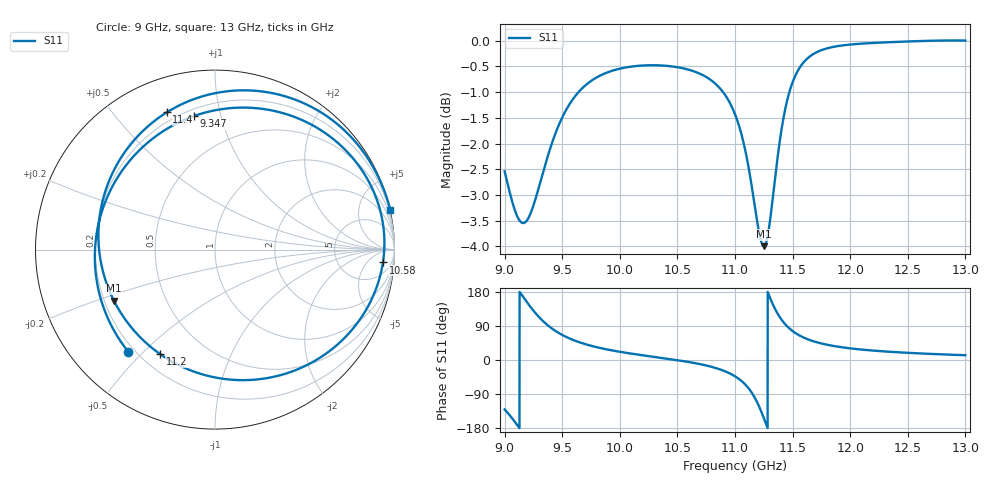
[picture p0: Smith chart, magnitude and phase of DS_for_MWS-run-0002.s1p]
! TOUCHSTONE file generated by CST DESIGN STUDIO
! Date and time: Tue Feb  4 16:00:30 2025
! Project name: C:\Work\MatlabApps\UnitCellOptimizationMatlab\CST\unitcell.cst
! Tree item: Tasks\Sweep1\SPara1\S-Parameters
! Header version: 2024
! Port assignment regex: !\s*Touchstone port\s*([0-9]+)\s*=\s*(CST MWS port|CST DES external port|CST DES block port)\s*(.+)\s* \(\"(.*)\"\)(\s*mode\s*([0-9]+))?.*
! Touchstone port assignment:
! Touchstone port 1 = CST DES external port 1 ("")
# GHz S MA R 50
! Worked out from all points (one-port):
!   4001 points, 9 GHz to 13 GHz, reference 50 ohm
!   lowest |S11| = -4.0 dB at 11.25 GHz (marker M1), VSWR 4.42, Z = 11.9 - j11.3 ohm
!   |S11| at or under -10 dB: nowhere
!   S11 on the Smith chart (normalised r, x): 9 GHz: 0.18, -0.45; 9.347 GHz: 0.24, +0.83; 10.58 GHz: 13, -15; 11.2 GHz: 0.28, -0.57; 11.4 GHz: 0.16, +0.70; 13 GHz: -0.02, +9.07
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9  0.7464 -130.4
9.088  0.6846 -162.7
9.159  0.6646 167.3
9.256  0.6945 128.0
9.347  0.7537 98.8
9.5  0.842 66.2
9.71  0.9067 41.0
10  0.9394 21.7
10.5  0.9426 -0.5
10.581  0.9384 -4.4
10.838  0.9065 -21.6
11  0.8483 -42.9
11.066  0.8028 -57.9
11.125  0.7452 -77.5
11.166  0.6972 -96.4
11.202  0.6573 -117.8
11.25  0.6311 -153.2
11.282  0.6445 -178.8
11.314  0.6819 156.9
11.356  0.7482 129.9
11.397  0.8105 109.4
11.443  0.8654 92.0
11.5  0.9113 76.4
11.585  0.9497 60.8
11.689  0.9721 48.7
12  0.9916 30.7
12.5  0.9985 18.9
13  1.001 12.6
